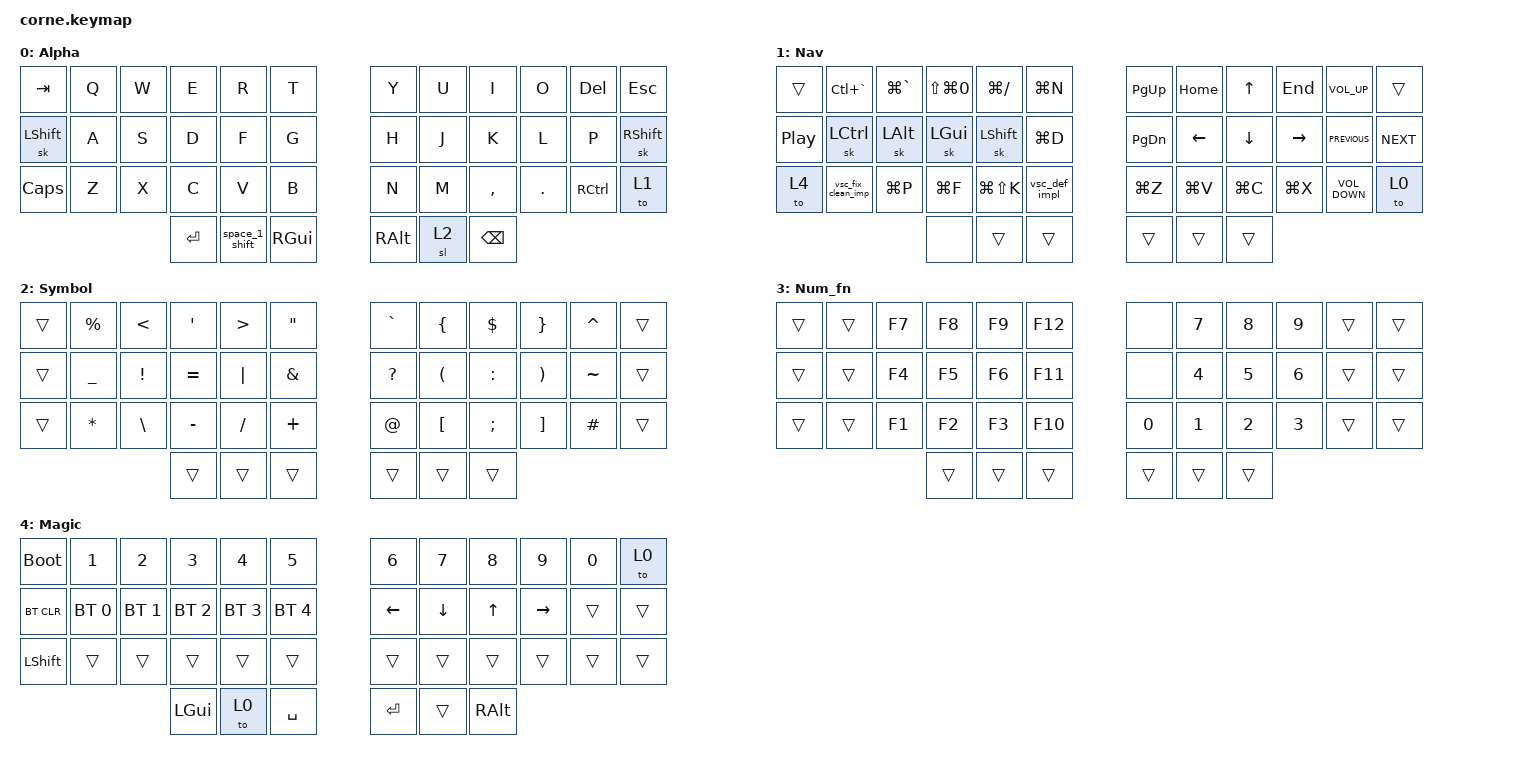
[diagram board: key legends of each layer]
/*
 * Copyright (c) 2020 The ZMK Contributors
 *
 * SPDX-License-Identifier: MIT
 */

#include <behaviors.dtsi>
#include <dt-bindings/zmk/bt.h>
#include <dt-bindings/zmk/keys.h>

&sk {
    release-after-ms = <2000>;
    quick-release;
};

&lt { flavor = "hold-preferred"; };

/ {
    behaviors {
        enter_to_nav: enter_to_nav {
            compatible = "zmk,behavior-mod-morph";
            label = "ENTER_TO_NAV";
            bindings = <&kp ENTER>, <&to 1>;

            #binding-cells = <0>;
            mods = <(MOD_LSFT|MOD_RSFT)>;
        };

        vsc_def_impl: vsc_def_impl {
            compatible = "zmk,behavior-mod-morph";
            label = "VSC_DEF_IMPL";
            bindings = <&kp LA(LG(BACKSLASH))>, <&kp LS(F12)>;

            #binding-cells = <0>;
            mods = <(MOD_RSFT|MOD_LSFT)>;
        };

        space_1_shift: space_1_shift {
            compatible = "zmk,behavior-mod-morph";
            label = "SPACE_1_SHIFT";
            bindings = <&lt 1 SPACE>, <&kp LEFT_SHIFT>;

            #binding-cells = <0>;
            mods = <(MOD_RGUI)>;
            keep-mods = <(MOD_RGUI)>;
        };

        vsc_fix_clean_imp: vsc_fix_clean_imp {
            compatible = "zmk,behavior-mod-morph";
            label = "VSC_FIX_CLEAN_IMP";
            bindings = <&kp LG(PERIOD)>, <&vsc_clean_imprts>;

            #binding-cells = <0>;
            mods = <(MOD_LSFT|MOD_RSFT)>;
        };
    };

    macros {
        vsc_del_line: vsc_del_line {
            compatible = "zmk,behavior-macro";
            #binding-cells = <0>;
            bindings =
                <&macro_press>,
                <&kp LEFT_GUI &kp LEFT_SHIFT>,
                <&macro_tap>,
                <&kp K>,
                <&macro_release>,
                <&kp LEFT_GUI &kp LEFT_SHIFT>;

            label = "VSC_DEL_LINE";
        };

        vsc_clean_imprts: vsc_clean_imprts {
            compatible = "zmk,behavior-macro";
            #binding-cells = <0>;
            bindings =
                <&macro_press>,
                <&kp LEFT_GUI &kp LEFT_ALT>,
                <&macro_tap>,
                <&kp I>,
                <&macro_release>,
                <&kp LEFT_GUI &kp LEFT_ALT>,
                <&macro_press>,
                <&kp LEFT_GUI>,
                <&macro_tap>,
                <&kp K>,
                <&macro_release>,
                <&kp LEFT_GUI>;

            label = "VSC_CLEAN_IMPRTS";
        };

        cmd_tab: cmd_tab {
            compatible = "zmk,behavior-macro";
            #binding-cells = <0>;
            bindings =
                <&macro_press>,
                <&kp LEFT_GUI>,
                <&macro_tap>,
                <&kp TAB &kp LEFT_GUI>,
                <&macro_release>,
                <&kp LEFT_GUI>;

            label = "CMD_TAB";
        };
    };

    keymap {
        compatible = "zmk,keymap";

        Alpha {
            // -----------------------------------------------------------------------------------------
            // |  TAB |  Q  |  W  |  E  |  R  |  T  |   |  Y  |  U   |  I  |  O  |  P  | BKSP |
            // | CTRL |  A  |  S  |  D  |  F  |  G  |   |  H  |  J   |  K  |  L  |  ;  |  '   |
            // | SHFT |  Z  |  X  |  C  |  V  |  B  |   |  N  |  M   |  ,  |  .  |  /  | ESC  |
            //                    | GUI | LWR | SPC |   | ENT | RSE  | ALT |

            bindings = <
&kp TAB         &kp Q  &kp W  &kp E      &kp R           &kp T       &kp Y          &kp U  &kp I          &kp O    &kp DEL    &kp ESC
&sk LEFT_SHIFT  &kp A  &kp S  &kp D      &kp F           &kp G       &kp H          &kp J  &kp K          &kp L    &kp P      &sk RIGHT_SHIFT
&kp CAPSLOCK    &kp Z  &kp X  &kp C      &kp V           &kp B       &kp N          &kp M  &kp COMMA      &kp DOT  &kp RCTRL  &to 1
                              &kp ENTER  &space_1_shift  &kp RGUI    &kp RIGHT_ALT  &sl 2  &kp BACKSPACE
            >;
        };

        Nav {
            bindings = <
&trans            &kp LC(GRAVE)       &kp LG(GRAVE)  &kp LS(LG(N0))  &kp LG(SLASH)   &kp LG(N)        &kp PAGE_UP    &kp HOME        &kp UP_ARROW    &kp END          &kp C_VOL_UP       &trans
&kp C_PLAY_PAUSE  &sk LEFT_CONTROL    &sk LEFT_ALT   &sk LEFT_GUI    &sk LEFT_SHIFT  &kp LG(D)        &kp PAGE_DOWN  &kp LEFT_ARROW  &kp DOWN_ARROW  &kp RIGHT_ARROW  &kp C_PREVIOUS     &kp C_NEXT
&to 4             &vsc_fix_clean_imp  &kp LG(P)      &kp LG(F)       &kp LG(LS(K))   &vsc_def_impl    &kp LG(Z)      &kp LG(V)       &kp LG(C)       &kp LG(X)        &kp C_VOLUME_DOWN  &to 0
                                                     &none           &trans          &trans           &trans         &trans          &trans
            >;
        };

        Symbol {
            // -----------------------------------------------------------------------------------------
            // |  TAB |  !  |  @  |  #  |  $  |  %  |   |  ^  |  &  |  *  |  (  |  )  | BKSP |
            // | CTRL |     |     |     |     |     |   |  -  |  =  |  [  |  ]  |  \  |  `   |
            // | SHFT |     |     |     |     |     |   |  _  |  +  |  {  |  }  | "|" |  ~   |
            //                    | GUI |     | SPC |   | ENT |     | ALT |

            bindings = <
&trans  &kp PERCENT     &kp LESS_THAN    &kp SINGLE_QUOTE  &kp GREATER_THAN  &kp DOUBLE_QUOTES    &kp GRAVE     &kp LEFT_BRACE        &kp DOLLAR     &kp RIGHT_BRACE        &kp CARET  &trans
&trans  &kp UNDERSCORE  &kp EXCLAMATION  &kp EQUAL         &kp PIPE          &kp AMPERSAND        &kp QUESTION  &kp LEFT_PARENTHESIS  &kp COLON      &kp RIGHT_PARENTHESIS  &kp TILDE  &trans
&trans  &kp ASTERISK    &kp BSLH         &kp MINUS         &kp SLASH         &kp PLUS             &kp AT_SIGN   &kp LEFT_BRACKET      &kp SEMICOLON  &kp RIGHT_BRACKET      &kp HASH   &trans
                                         &trans            &trans            &trans               &trans        &trans                &trans
            >;
        };

        Num_fn {
            bindings = <
&trans  &trans  &kp F7  &kp F8  &kp F9  &kp F12    &none   &kp N7  &kp N8  &kp N9  &trans  &trans
&trans  &trans  &kp F4  &kp F5  &kp F6  &kp F11    &none   &kp N4  &kp N5  &kp N6  &trans  &trans
&trans  &trans  &kp F1  &kp F2  &kp F3  &kp F10    &kp N0  &kp N1  &kp N2  &kp N3  &trans  &trans
                        &trans  &trans  &trans     &trans  &trans  &trans
            >;
        };

        Magic {
            // -----------------------------------------------------------------------------------------
            // |  TAB |  1  |  2  |  3  |  4  |  5  |   |  6  |  7  |  8  |  9  |  0  | BKSP |
            // | BTCLR| BT1 | BT2 | BT3 | BT4 | BT5 |   | LFT | DWN |  UP | RGT |     |      |
            // | SHFT |     |     |     |     |     |   |     |     |     |     |     |      |
            //                    | GUI |     | SPC |   | ENT |     | ALT |

            bindings = <
&bootloader  &kp N1        &kp N2        &kp N3        &kp N4        &kp N5          &kp N6    &kp N7    &kp N8    &kp N9     &kp N0  &to 0
&bt BT_CLR   &bt BT_SEL 0  &bt BT_SEL 1  &bt BT_SEL 2  &bt BT_SEL 3  &bt BT_SEL 4    &kp LEFT  &kp DOWN  &kp UP    &kp RIGHT  &trans  &trans
&kp LSHFT    &trans        &trans        &trans        &trans        &trans          &trans    &trans    &trans    &trans     &trans  &trans
                                         &kp LGUI      &to 0         &kp SPACE       &kp RET   &trans    &kp RALT
            >;
        };
    };

    conditional_layers {
        compatible = "zmk,conditional-layers";

        num {
            if-layers = <1 2>;
            then-layer = <3>;
        };
    };
};
